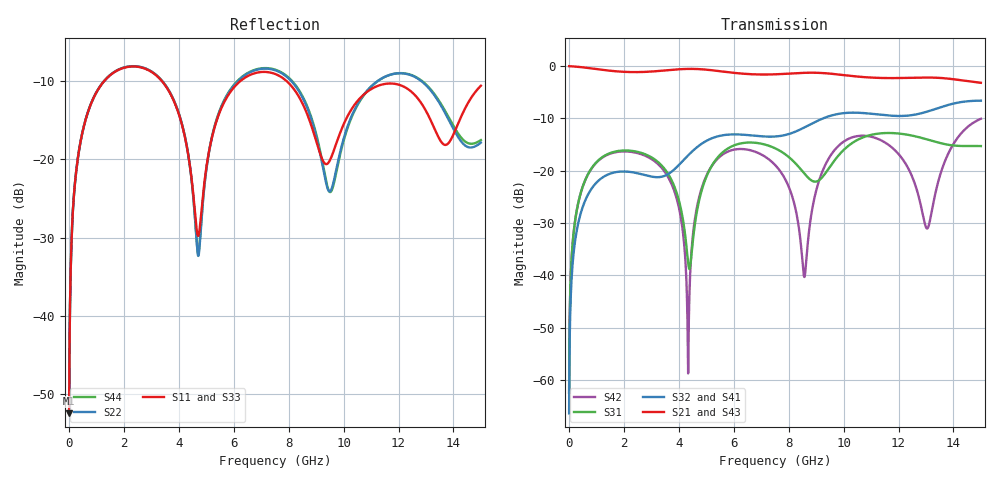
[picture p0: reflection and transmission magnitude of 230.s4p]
! Created with skrf 1.8.0 (http://scikit-rf.org).
# GHz S RI R 50.0
!freq ReS11 ImS11 ReS12 ImS12 ReS13 ImS13
! ReS14 ImS14
! ReS21 ImS21 ReS22 ImS22 ReS23 ImS23
! ReS24 ImS24
! ReS31 ImS31 ReS32 ImS32 ReS33 ImS33
! ReS34 ImS34
! ReS41 ImS41 ReS42 ImS42 ReS43 ImS43
! ReS44 ImS44
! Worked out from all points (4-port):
!   2499 points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, 5 MHz to 15 GHz, reference 50 ohm
!   strongest paths, dB at 5 MHz, 3.476 GHz, 7.19 GHz, 11.1 GHz, 15 GHz:
!     S21: 0.0, -0.8, -1.6, -2.2, -3.2
!     S43: 0.0, -0.8, -1.6, -2.2, -3.2
!     S32: -66.4, -21.0, -13.5, -9.2, -6.6
!     S41: -66.4, -21.0, -13.5, -9.2, -6.7
!     S31: -62.5, -19.6, -15.1, -13.0, -15.3
!     S42: -62.5, -20.1, -17.5, -13.6, -10.1
!   lowest |S11| = -52.4 dB at 5 MHz (marker M1), VSWR 1.00, Z = 50.2 + j0.145 ohm
!   |S11| at or under -10 dB: start of sweep to 1.279 GHz; 3.387 GHz to 6.235 GHz (2.848 GHz wide, 59.2 % of centre); 7.93 GHz to end of sweep
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0.005  0.0019 0.00145  0.9981 -0.00371  9.63e-05 0.000748  -9.35e-05 -0.000471
       0.9981 -0.00371  0.0019 0.00145  -9.35e-05 -0.000471  9.62e-05 0.000748
       9.63e-05 0.000748  -9.35e-05 -0.000471  0.0019 0.00145  0.9981 -0.00371
       -9.35e-05 -0.000471  9.62e-05 0.000748  0.9981 -0.00371  0.0019 0.00145
1.725719  0.3449 0.1275  0.3513 -0.8188  0.1514 0.0237  -0.0935 0.0261
          0.3513 -0.8188  0.3471 0.125  -0.0935 0.0261  0.1465 0.0352
          0.1514 0.0237  -0.0935 0.0261  0.3449 0.1275  0.3513 -0.8188
          -0.0935 0.0261  0.1465 0.0352  0.3513 -0.8188  0.3471 0.1249
4.344091  0.0543 -0.0921  -0.8906 -0.3003  -0.0114 -0.00583  -0.0407 0.1346
          -0.8906 -0.3003  0.0467 -0.0966  -0.0405 0.1346  -0.00124 0.000413
          -0.0114 -0.00583  -0.0405 0.1346  0.0535 -0.0919  -0.8907 -0.3
          -0.0407 0.1346  -0.00124 0.000413  -0.8907 -0.3  0.0472 -0.096
5.358483  0.1083 0.1349  -0.8358 0.3409  0.0945 0.087  0.1037 0.1834
          -0.8358 0.3409  0.1044 0.1403  0.104 0.1834  0.08 0.0969
          0.0945 0.087  0.104 0.1834  0.1077 0.1364  -0.8354 0.3414
          0.1037 0.1834  0.08 0.0969  -0.8354 0.3414  0.1063 0.1408
8.572322  0.1726 -0.128  0.6321 0.5863  -0.0623 -0.0703  0.1717 -0.1937
          0.6321 0.5863  0.1676 -0.1655  0.1707 -0.1949  -0.00863 -0.00428
          -0.0623 -0.0703  0.1707 -0.1949  0.1773 -0.1295  0.6307 0.5863
          0.1717 -0.1937  -0.00863 -0.00428  0.6307 0.5863  0.1693 -0.17
9.485202  0.0964 0.0157  0.8426 0.0958  -0.0255 0.1043  0.0307 -0.3313
          0.8426 0.0958  0.0619 -0.00822  0.0289 -0.3314  0.0235 0.1322
          -0.0255 0.1043  0.0289 -0.3314  0.0987 0.0112  0.8423 0.0971
          0.0307 -0.3313  0.0235 0.1322  0.8423 0.0971  0.061 -0.0129
15  0.2699 0.1212  -0.6643 0.1945  0.017 0.1712  0.1727 0.431
    -0.6643 0.1945  0.1281 -0.00113  0.1759 0.4327  0.2711 0.1579
    0.017 0.1712  0.1759 0.4327  0.2625 0.1172  -0.6655 0.1942
    0.1727 0.431  0.2711 0.1579  -0.6655 0.1942  0.1328 -0.00801
